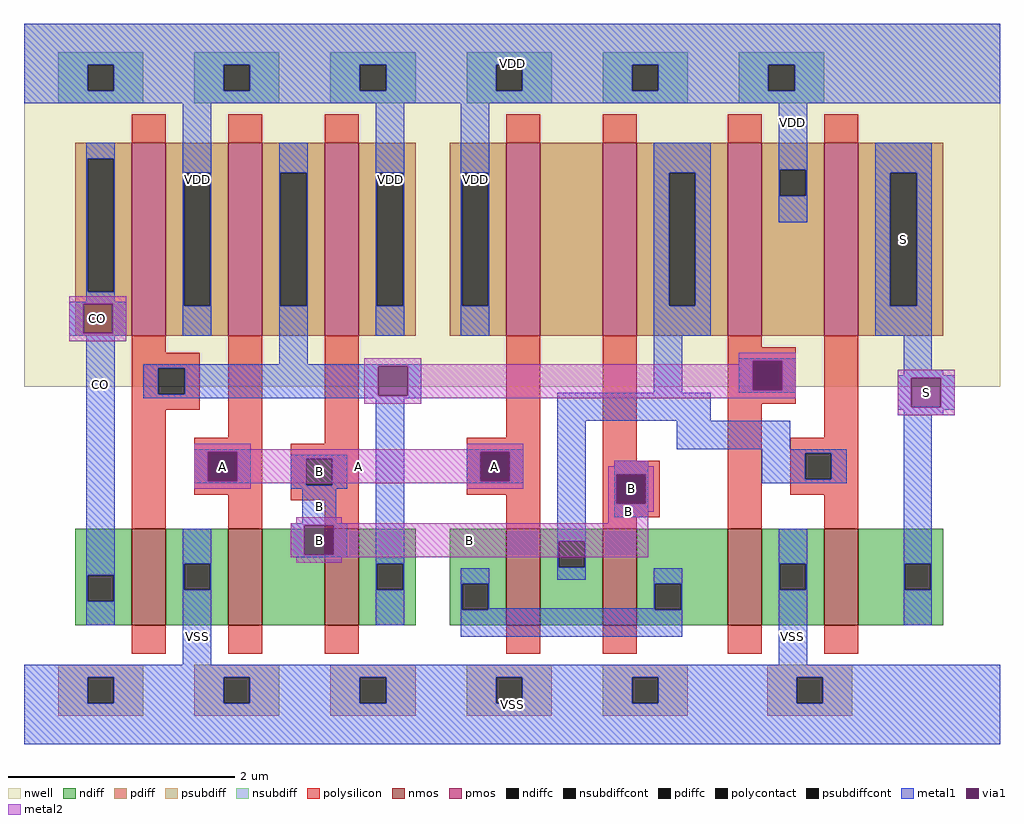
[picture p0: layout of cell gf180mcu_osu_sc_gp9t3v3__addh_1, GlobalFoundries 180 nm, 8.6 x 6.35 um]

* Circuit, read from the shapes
.subckt gf180mcu_osu_sc_gp9t3v3__addh_1 A B S CO VDD VSS
XM1 VSS n1 CO VSS nfet_03v3 w=0.85u l=0.3u
XM2 n2 A VSS VSS nfet_03v3 w=0.85u l=0.3u
XM3 n1 B n2 VSS nfet_03v3 w=0.85u l=0.3u
XM4 n3 A n4 VSS nfet_03v3 w=0.85u l=0.3u
XM5 n4 B n3 VSS nfet_03v3 w=0.85u l=0.3u
XM6 VSS n1 n4 VSS nfet_03v3 w=0.85u l=0.3u
XM7 S n3 VSS VSS nfet_03v3 w=0.85u l=0.3u
XM8 VDD n1 CO VDD pfet_03v3 w=1.7u l=0.3u
XM9 n1 A VDD VDD pfet_03v3 w=1.7u l=0.3u
XM10 VDD B n1 VDD pfet_03v3 w=1.7u l=0.3u
XM11 n5 A VDD VDD pfet_03v3 w=1.7u l=0.3u
XM12 n3 B n5 VDD pfet_03v3 w=1.7u l=0.3u
XM13 VDD n1 n3 VDD pfet_03v3 w=1.7u l=0.3u
XM14 S n3 VDD VDD pfet_03v3 w=1.7u l=0.3u
.ends

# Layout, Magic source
magic
tech gf180mcuA
magscale 1 10
<< nwell >>
rect 0 630 1720 1270
<< nmos >>
rect 190 210 250 380
rect 360 210 420 380
rect 530 210 590 380
rect 850 210 910 380
rect 1020 210 1080 380
rect 1240 210 1300 380
rect 1410 210 1470 380
<< pmos >>
rect 190 720 250 1060
rect 360 720 420 1060
rect 530 720 590 1060
rect 850 720 910 1060
rect 1020 720 1080 1060
rect 1240 720 1300 1060
rect 1410 720 1470 1060
<< ndiff >>
rect 90 298 190 380
rect 90 252 112 298
rect 158 252 190 298
rect 90 210 190 252
rect 250 318 360 380
rect 250 272 282 318
rect 328 272 360 318
rect 250 210 360 272
rect 420 210 530 380
rect 590 318 690 380
rect 590 272 622 318
rect 668 272 690 318
rect 590 210 690 272
rect 750 283 850 380
rect 750 237 772 283
rect 818 237 850 283
rect 750 210 850 237
rect 910 358 1020 380
rect 910 312 942 358
rect 988 312 1020 358
rect 910 210 1020 312
rect 1080 283 1240 380
rect 1080 237 1112 283
rect 1158 237 1240 283
rect 1080 210 1240 237
rect 1300 318 1410 380
rect 1300 272 1332 318
rect 1378 272 1410 318
rect 1300 210 1410 272
rect 1470 318 1620 380
rect 1470 272 1552 318
rect 1598 272 1620 318
rect 1470 210 1620 272
<< pdiff >>
rect 90 1032 190 1060
rect 90 798 112 1032
rect 158 798 190 1032
rect 90 720 190 798
rect 250 1007 360 1060
rect 250 773 282 1007
rect 328 773 360 1007
rect 250 720 360 773
rect 420 1007 530 1060
rect 420 773 452 1007
rect 498 773 530 1007
rect 420 720 530 773
rect 590 1007 690 1060
rect 590 773 622 1007
rect 668 773 690 1007
rect 590 720 690 773
rect 750 1007 850 1060
rect 750 773 772 1007
rect 818 773 850 1007
rect 750 720 850 773
rect 910 720 1020 1060
rect 1080 1007 1240 1060
rect 1080 773 1137 1007
rect 1183 773 1240 1007
rect 1080 720 1240 773
rect 1300 1013 1410 1060
rect 1300 967 1332 1013
rect 1378 967 1410 1013
rect 1300 720 1410 967
rect 1470 1007 1620 1060
rect 1470 773 1527 1007
rect 1573 773 1620 1007
rect 1470 720 1620 773
<< ndiffc >>
rect 112 252 158 298
rect 282 272 328 318
rect 622 272 668 318
rect 772 237 818 283
rect 942 312 988 358
rect 1112 237 1158 283
rect 1332 272 1378 318
rect 1552 272 1598 318
<< pdiffc >>
rect 112 798 158 1032
rect 282 773 328 1007
rect 452 773 498 1007
rect 622 773 668 1007
rect 772 773 818 1007
rect 1137 773 1183 1007
rect 1332 967 1378 1013
rect 1527 773 1573 1007
<< psubdiff >>
rect 60 118 210 140
rect 60 72 112 118
rect 158 72 210 118
rect 60 50 210 72
rect 300 118 450 140
rect 300 72 352 118
rect 398 72 450 118
rect 300 50 450 72
rect 540 118 690 140
rect 540 72 592 118
rect 638 72 690 118
rect 540 50 690 72
rect 780 118 930 140
rect 780 72 832 118
rect 878 72 930 118
rect 780 50 930 72
rect 1020 118 1170 140
rect 1020 72 1072 118
rect 1118 72 1170 118
rect 1020 50 1170 72
rect 1310 118 1460 140
rect 1310 72 1362 118
rect 1408 72 1460 118
rect 1310 50 1460 72
<< nsubdiff >>
rect 60 1198 210 1220
rect 60 1152 112 1198
rect 158 1152 210 1198
rect 60 1130 210 1152
rect 300 1198 450 1220
rect 300 1152 352 1198
rect 398 1152 450 1198
rect 300 1130 450 1152
rect 540 1198 690 1220
rect 540 1152 592 1198
rect 638 1152 690 1198
rect 540 1130 690 1152
rect 780 1198 930 1220
rect 780 1152 832 1198
rect 878 1152 930 1198
rect 780 1130 930 1152
rect 1020 1198 1170 1220
rect 1020 1152 1072 1198
rect 1118 1152 1170 1198
rect 1020 1130 1170 1152
rect 1260 1198 1410 1220
rect 1260 1152 1312 1198
rect 1358 1152 1410 1198
rect 1260 1130 1410 1152
<< psubdiffcont >>
rect 112 72 158 118
rect 352 72 398 118
rect 592 72 638 118
rect 832 72 878 118
rect 1072 72 1118 118
rect 1362 72 1408 118
<< nsubdiffcont >>
rect 112 1152 158 1198
rect 352 1152 398 1198
rect 592 1152 638 1198
rect 832 1152 878 1198
rect 1072 1152 1118 1198
rect 1312 1152 1358 1198
<< polysilicon >>
rect 190 1060 250 1110
rect 360 1060 420 1110
rect 530 1060 590 1110
rect 850 1060 910 1110
rect 1020 1060 1080 1110
rect 1240 1060 1300 1110
rect 1410 1060 1470 1110
rect 190 690 250 720
rect 190 663 310 690
rect 190 617 237 663
rect 283 617 310 663
rect 190 590 310 617
rect 190 380 250 590
rect 360 540 420 720
rect 300 513 420 540
rect 530 530 590 720
rect 850 540 910 720
rect 300 467 327 513
rect 373 467 420 513
rect 300 440 420 467
rect 360 380 420 440
rect 470 503 590 530
rect 470 457 497 503
rect 543 457 590 503
rect 470 430 590 457
rect 780 513 910 540
rect 780 467 807 513
rect 853 467 910 513
rect 780 440 910 467
rect 530 380 590 430
rect 850 380 910 440
rect 1020 500 1080 720
rect 1240 700 1300 720
rect 1240 673 1360 700
rect 1240 627 1287 673
rect 1333 627 1360 673
rect 1240 600 1360 627
rect 1020 473 1120 500
rect 1020 427 1047 473
rect 1093 427 1120 473
rect 1020 400 1120 427
rect 1020 380 1080 400
rect 1240 380 1300 600
rect 1410 540 1470 720
rect 1350 513 1470 540
rect 1350 467 1377 513
rect 1423 467 1470 513
rect 1350 440 1470 467
rect 1410 380 1470 440
rect 190 160 250 210
rect 360 160 420 210
rect 530 160 590 210
rect 850 160 910 210
rect 1020 160 1080 210
rect 1240 160 1300 210
rect 1410 160 1470 210
<< polycontact >>
rect 237 617 283 663
rect 327 467 373 513
rect 497 457 543 503
rect 807 467 853 513
rect 1287 627 1333 673
rect 1047 427 1093 473
rect 1377 467 1423 513
<< metal1 >>
rect 0 1198 1720 1270
rect 0 1152 112 1198
rect 158 1152 352 1198
rect 398 1152 592 1198
rect 638 1152 832 1198
rect 878 1152 1072 1198
rect 1118 1152 1312 1198
rect 1358 1152 1720 1198
rect 0 1130 1720 1152
rect 110 1032 160 1060
rect 110 798 112 1032
rect 158 798 160 1032
rect 110 780 160 798
rect 280 1007 330 1130
rect 80 776 180 780
rect 80 724 104 776
rect 156 724 180 776
rect 80 720 180 724
rect 280 773 282 1007
rect 328 773 330 1007
rect 280 720 330 773
rect 450 1007 500 1060
rect 450 773 452 1007
rect 498 773 500 1007
rect 110 298 160 720
rect 450 670 500 773
rect 620 1007 670 1130
rect 620 773 622 1007
rect 668 773 670 1007
rect 620 720 670 773
rect 770 1007 820 1130
rect 770 773 772 1007
rect 818 773 820 1007
rect 770 720 820 773
rect 1110 1007 1210 1060
rect 1110 773 1137 1007
rect 1183 773 1210 1007
rect 1330 1013 1380 1130
rect 1330 967 1332 1013
rect 1378 967 1380 1013
rect 1330 920 1380 967
rect 1500 1007 1600 1060
rect 1110 720 1210 773
rect 1500 773 1527 1007
rect 1573 773 1600 1007
rect 1500 720 1600 773
rect 210 666 700 670
rect 210 663 624 666
rect 210 617 237 663
rect 283 617 624 663
rect 210 614 624 617
rect 676 614 700 666
rect 1110 620 1160 720
rect 1260 676 1360 680
rect 1260 624 1284 676
rect 1336 624 1360 676
rect 1550 660 1600 720
rect 1550 650 1620 660
rect 1260 620 1360 624
rect 1540 646 1640 650
rect 210 610 700 614
rect 300 516 400 520
rect 300 464 324 516
rect 376 464 400 516
rect 300 460 400 464
rect 470 503 570 510
rect 470 457 497 503
rect 543 457 570 503
rect 470 450 570 457
rect 490 390 550 450
rect 470 386 570 390
rect 110 252 112 298
rect 158 252 160 298
rect 110 210 160 252
rect 280 318 330 380
rect 470 334 494 386
rect 546 334 570 386
rect 470 330 570 334
rect 280 272 282 318
rect 328 272 330 318
rect 280 140 330 272
rect 620 318 670 610
rect 940 570 1210 620
rect 1540 594 1564 646
rect 1616 594 1640 646
rect 1540 590 1640 594
rect 1550 580 1620 590
rect 780 516 880 520
rect 780 464 804 516
rect 856 464 880 516
rect 780 460 880 464
rect 620 272 622 318
rect 668 272 670 318
rect 940 358 990 570
rect 1150 520 1350 570
rect 1300 513 1450 520
rect 1040 476 1100 500
rect 1040 424 1044 476
rect 1096 424 1100 476
rect 1300 467 1377 513
rect 1423 467 1450 513
rect 1300 460 1450 467
rect 1040 400 1100 424
rect 940 312 942 358
rect 988 312 990 358
rect 620 210 670 272
rect 770 283 820 310
rect 940 290 990 312
rect 1330 318 1380 380
rect 770 237 772 283
rect 818 240 820 283
rect 1110 283 1160 310
rect 1110 240 1112 283
rect 818 237 1112 240
rect 1158 237 1160 283
rect 770 190 1160 237
rect 1330 272 1332 318
rect 1378 272 1380 318
rect 1330 140 1380 272
rect 1550 318 1600 580
rect 1550 272 1552 318
rect 1598 272 1600 318
rect 1550 210 1600 272
rect 0 118 1720 140
rect 0 72 112 118
rect 158 72 352 118
rect 398 72 592 118
rect 638 72 832 118
rect 878 72 1072 118
rect 1118 72 1362 118
rect 1408 72 1720 118
rect 0 0 1720 72
<< via1 >>
rect 104 724 156 776
rect 624 614 676 666
rect 1284 673 1336 676
rect 1284 627 1287 673
rect 1287 627 1333 673
rect 1333 627 1336 673
rect 1284 624 1336 627
rect 324 513 376 516
rect 324 467 327 513
rect 327 467 373 513
rect 373 467 376 513
rect 324 464 376 467
rect 494 334 546 386
rect 1564 594 1616 646
rect 804 513 856 516
rect 804 467 807 513
rect 807 467 853 513
rect 853 467 856 513
rect 804 464 856 467
rect 1044 473 1096 476
rect 1044 427 1047 473
rect 1047 427 1093 473
rect 1093 427 1096 473
rect 1044 424 1096 427
<< metal2 >>
rect 80 776 180 790
rect 80 724 104 776
rect 156 724 180 776
rect 80 710 180 724
rect 600 670 700 680
rect 1260 676 1360 690
rect 1260 670 1284 676
rect 600 666 1284 670
rect 600 614 624 666
rect 676 624 1284 666
rect 1336 624 1360 676
rect 676 614 1360 624
rect 600 610 1360 614
rect 1540 646 1640 660
rect 600 600 700 610
rect 1540 594 1564 646
rect 1616 594 1640 646
rect 1540 580 1640 594
rect 300 520 400 530
rect 780 520 880 530
rect 300 516 880 520
rect 300 464 324 516
rect 376 464 804 516
rect 856 464 880 516
rect 1040 490 1100 500
rect 300 460 880 464
rect 300 450 400 460
rect 780 450 880 460
rect 1030 476 1110 490
rect 1030 424 1044 476
rect 1096 424 1110 476
rect 1030 410 1110 424
rect 480 390 560 400
rect 1030 390 1100 410
rect 470 386 1100 390
rect 470 334 494 386
rect 546 334 1100 386
rect 470 330 1100 334
rect 480 320 560 330
<< labels >>
rlabel via1 s 804 464 856 516 4 A
port 1 nsew signal input
rlabel via1 s 1044 424 1096 476 4 B
port 2 nsew signal input
rlabel via1 s 1564 594 1616 646 4 S
port 3 nsew signal output
rlabel via1 s 104 724 156 776 4 CO
port 4 nsew signal output
rlabel metal1 s 280 720 330 1270 4 VDD
port 5 nsew power bidirectional abutment
rlabel metal1 s 280 0 330 380 4 VSS
port 6 nsew ground bidirectional abutment
rlabel metal1 s 620 720 670 1270 1 VDD
port 5 nsew power bidirectional abutment
rlabel metal1 s 770 720 820 1270 1 VDD
port 5 nsew power bidirectional abutment
rlabel metal1 s 1330 920 1380 1270 1 VDD
port 5 nsew power bidirectional abutment
rlabel metal1 s 0 1130 1720 1270 1 VDD
port 5 nsew power bidirectional abutment
rlabel metal1 s 1330 0 1380 380 1 VSS
port 6 nsew ground bidirectional abutment
rlabel metal1 s 0 0 1720 140 1 VSS
port 6 nsew ground bidirectional abutment
rlabel via1 s 324 464 376 516 1 A
port 1 nsew signal input
rlabel metal2 s 300 450 400 530 1 A
port 1 nsew signal input
rlabel metal2 s 300 460 880 520 1 A
port 1 nsew signal input
rlabel metal2 s 780 450 880 530 1 A
port 1 nsew signal input
rlabel metal1 s 300 460 400 520 1 A
port 1 nsew signal input
rlabel metal1 s 780 460 880 520 1 A
port 1 nsew signal input
rlabel via1 s 494 334 546 386 1 B
port 2 nsew signal input
rlabel metal2 s 480 320 560 400 1 B
port 2 nsew signal input
rlabel metal2 s 470 330 1100 390 1 B
port 2 nsew signal input
rlabel metal2 s 1030 330 1100 490 1 B
port 2 nsew signal input
rlabel metal2 s 1040 330 1100 500 1 B
port 2 nsew signal input
rlabel metal2 s 1030 410 1110 490 1 B
port 2 nsew signal input
rlabel metal1 s 490 330 550 510 1 B
port 2 nsew signal input
rlabel metal1 s 470 330 570 390 1 B
port 2 nsew signal input
rlabel metal1 s 470 450 570 510 1 B
port 2 nsew signal input
rlabel metal1 s 1040 400 1100 500 1 B
port 2 nsew signal input
rlabel metal2 s 80 710 180 790 1 CO
port 4 nsew signal output
rlabel metal1 s 110 210 160 1060 1 CO
port 4 nsew signal output
rlabel metal1 s 80 720 180 780 1 CO
port 4 nsew signal output
rlabel metal2 s 1540 580 1640 660 1 S
port 3 nsew signal output
rlabel metal1 s 1550 210 1600 1060 1 S
port 3 nsew signal output
rlabel metal1 s 1500 720 1600 1060 1 S
port 3 nsew signal output
rlabel metal1 s 1550 580 1620 660 1 S
port 3 nsew signal output
rlabel metal1 s 1540 590 1640 650 1 S
port 3 nsew signal output
<< properties >>
string FIXED_BBOX 0 0 1720 1270
string GDS_END 30928
string GDS_FILE $PDKPATH/libs.ref/gf180mcu_osu_sc_gp9t3v3/gds/gf180mcu_osu_sc_gp9t3v3.gds
string GDS_START 19812
string LEFclass CORE
string LEFsite gf180mcu_osu_sc_gp9t3v3
string LEFsymmetry X Y
<< end >>
